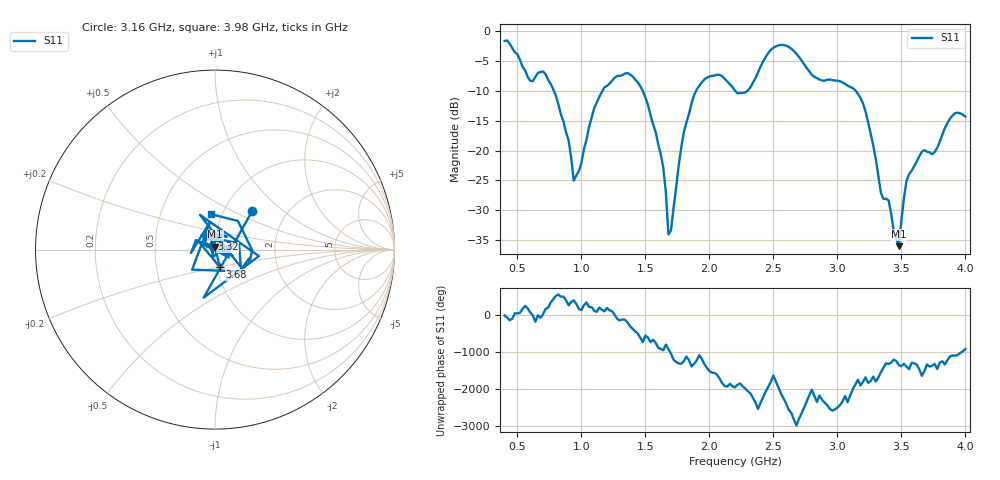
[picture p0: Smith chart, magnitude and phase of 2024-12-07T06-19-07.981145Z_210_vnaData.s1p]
!Created with skrf (http://scikit-rf.org).
# Hz S RI R 50.0
!freq ReS11 ImS11
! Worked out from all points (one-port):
!   181 points, 400 MHz to 4 GHz, reference 50 ohm
!   lowest |S11| = -36.0 dB at 3.48 GHz (marker M1), VSWR 1.03, Z = 50.1 + j1.59 ohm
!   |S11| at or under -10 dB: 784.1 MHz to 1.166 GHz (381.8 MHz wide, 39.2 % of centre); 1.479 GHz to 1.897 GHz (418.2 MHz wide, 24.8 % of centre); 3.142 GHz to end of sweep (the widest 3 of 4)
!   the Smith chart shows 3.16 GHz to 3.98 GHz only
!   S11 on the Smith chart (normalised r, x): 3.16 GHz: 1.35, +0.63; 3.32 GHz: 0.95, +0.11; 3.68 GHz: 1.03, -0.20; 3.98 GHz: 0.88, +0.36
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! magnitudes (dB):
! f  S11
! 400 MHz  -1.7
! 600 MHz  -8.4
! 720 MHz  -7.2
! 860 MHz  -15.1
! 940 MHz  -25.0
! 1.1 GHz  -12.9
! 1.3 GHz  -7.5
! 1.4 GHz  -7.6
! 1.52 GHz  -12.4
! 1.64 GHz  -22.9
! 1.68 GHz  -34.0
! 1.7 GHz  -33.3
! 1.76 GHz  -22.5
! 1.86 GHz  -12.1
! 1.94 GHz  -8.7
! 2.2 GHz  -10.0
! 2.3 GHz  -10.0
! 2.5 GHz  -2.8
! 2.66 GHz  -3.4
! 3.1 GHz  -9.4
! 3.16 GHz  -10.5
! 3.22 GHz  -13.5
! 3.32 GHz  -24.2
! 3.48 GHz  -36.0
! 3.56 GHz  -23.9
! 3.68 GHz  -19.9
! 3.98 GHz  -14.0
! 4 GHz  -14.4
